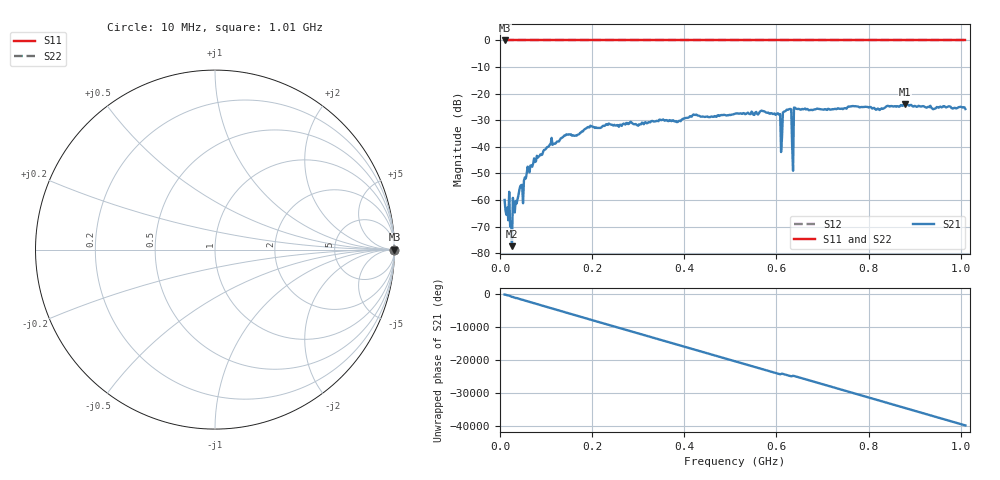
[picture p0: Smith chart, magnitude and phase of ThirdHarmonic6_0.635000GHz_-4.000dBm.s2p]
! 8/15/2025 8:58:04 PM
! C:\ANRITSUVNA\TEMP\TEMP.S2P
! CHANNEL.1
! TR.MEASUREMENT
! RAW.DATA
! RF.CORRECTION.OFF
! AVERAGING.OFF
! IF.BANDWIDTH: 5KHZ
! SWEEPTYPE:  FREQ.SWEEP(Linear)
! Reference Plane Port Info
! PORT:  PORT1  PORT2
! DISTANCE:  0  m  0  m
! TIME:  0  s  0  s
! PHASE.OFFSET:  0  deg.  0  deg.
! LOSS:  0  dB  0  dB
! REF.LOSS:  0  dB  0  dB
! REF.FREQ:  0  Hz  0  Hz
! Power Info
! POWER:  -20  dBm  -20  dBm
! EFF.POWER:  -20  dBm  -20  dBm
! SOURCE.ATTEN:  0  dB  0  dB
! TEST.ATTEN:  0  dB  0  dB
# GHZ S RI R 50.0
! FREQ.GHZ  S11RE  S11IM  S21RE  S21IM  S12RE  S12IM  S22RE  S22IM
!; PortSelection: Port_12
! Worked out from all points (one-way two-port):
!   501 points, 10 MHz to 1.01 GHz, reference 50 ohm
!   highest |S21| = -24.06 dB at 878 MHz (marker M1); lowest = -77.4 dB at 26 MHz (marker M2)
!   lowest |S11| = 0.0 dB at 10 MHz (marker M3)
!   |S11| at or under -10 dB: nowhere
!   |S22| runs from 0.0 to 0.0 dB; largest |S21 - S12| = 1.1
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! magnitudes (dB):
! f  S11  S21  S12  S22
! 10 MHz  0.0  -60.0  0.0  0.0
! 20 MHz  0.0  -56.9  0.0  0.0
! 22 MHz  0.0  -70.0  0.0  0.0
! 26 MHz  0.0  -77.4  0.0  0.0
! 44 MHz  0.0  -54.8  0.0  0.0
! 78 MHz  0.0  -45.5  0.0  0.0
! 108 MHz  0.0  -39.2  0.0  0.0
! 178 MHz  0.0  -34.2  0.0  0.0
! 344 MHz  0.0  -30.4  0.0  0.0
! 510 MHz  0.0  -27.6  0.0  0.0
! 604 MHz  0.0  -27.5  0.0  0.0
! 608 MHz  0.0  -27.7  0.0  0.0
! 614 MHz  0.0  -27.1  0.0  0.0
! 618 MHz  0.0  -26.7  0.0  0.0
! 628 MHz  0.0  -25.8  0.0  0.0
! 632 MHz  0.0  -25.9  0.0  0.0
! 638 MHz  0.0  -25.2  0.0  0.0
! 642 MHz  0.0  -25.6  0.0  0.0
! 678 MHz  0.0  -26.2  0.0  0.0
! 844 MHz  0.0  -24.7  0.0  0.0
! 878 MHz  0.0  -24.1  0.0  0.0
! 1.01 GHz  0.0  -25.8  0.0  0.0
